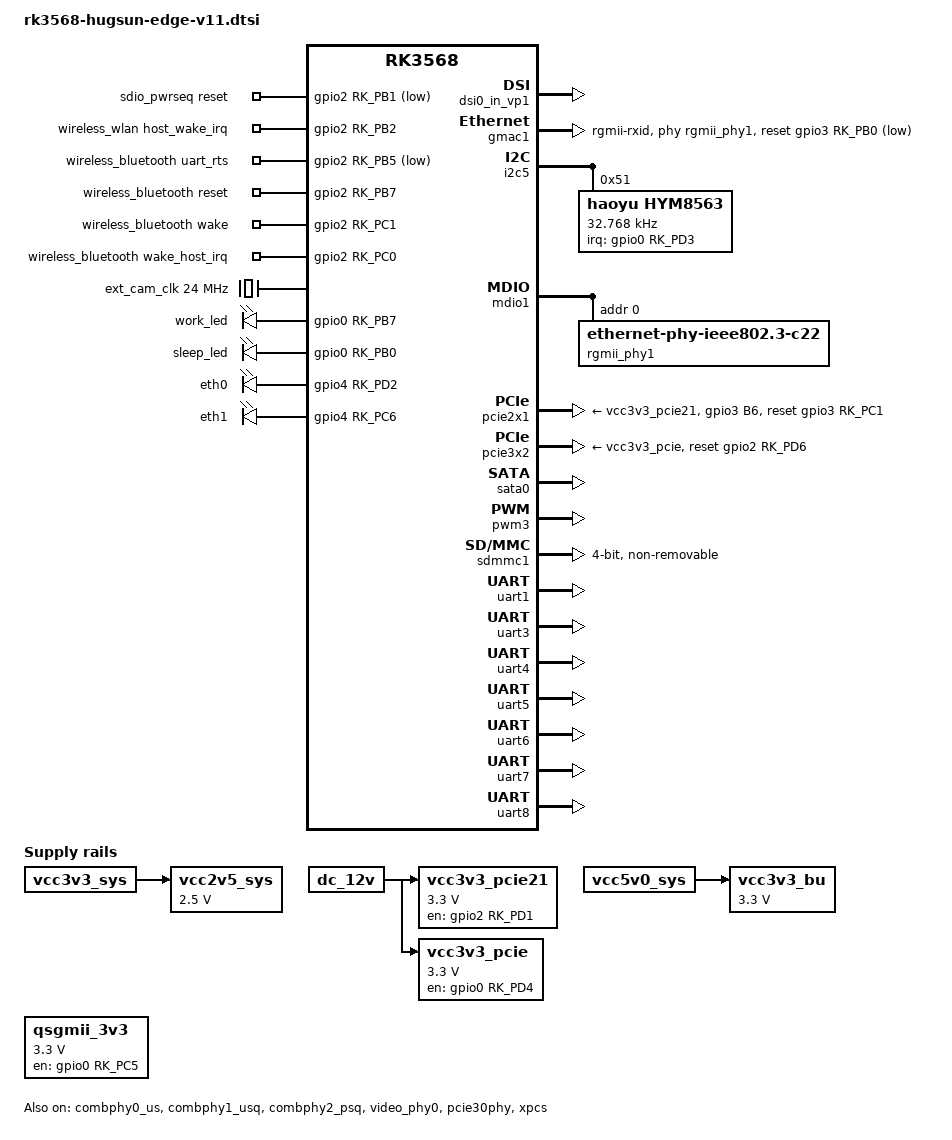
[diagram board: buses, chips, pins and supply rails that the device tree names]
// SPDX-License-Identifier: (GPL-2.0+ OR MIT)
/*
 * Copyright (c) 2020 Rockchip Electronics Co., Ltd.
 *
 */

/dts-v1/;

#include <dt-bindings/gpio/gpio.h>
#include <dt-bindings/pinctrl/rockchip.h>
#include "rk3568.dtsi"
#include "rk3568-hugsun.dtsi"

/ {
	rk_headset: rk-headset {
		status = "disabled";
		compatible = "rockchip_headset";
		headset_gpio = <&gpio4 RK_PC1 GPIO_ACTIVE_LOW>;
		pinctrl-names = "default";
		pinctrl-0 = <&hp_det>;	
	};

	vcc2v5_sys: vcc2v5-ddr {
		compatible = "regulator-fixed";
		regulator-name = "vcc2v5-sys";
		regulator-always-on;
		regulator-boot-on;
		regulator-min-microvolt = <2500000>;
		regulator-max-microvolt = <2500000>;
		vin-supply = <&vcc3v3_sys>;
	};

	vcc3v3_pcie21:vcc3v3-pcie21 {
		compatible = "regulator-fixed";
		regulator-name = "vcc3v3_pcie21";
		regulator-min-microvolt = <3300000>;
		regulator-max-microvolt = <3300000>;
		enable-active-high;
		regulator-always-on;
		regulator-boot-on;
		gpio = <&gpio2 RK_PD1 GPIO_ACTIVE_HIGH>;
		startup-delay-us = <5000>;
		vin-supply = <&dc_12v>;
	};
    
	vcc3v3_pcie: vcc3v3-pcie {
		compatible = "regulator-fixed";
		regulator-name = "vcc3v3_pcie";
		regulator-boot-on;
		enable-active-high;
		regulator-min-microvolt = <3300000>;
		regulator-max-microvolt = <3300000>;
		gpio = <&gpio0 RK_PD4 GPIO_ACTIVE_HIGH>;
		startup-delay-us = <5000>;
		vin-supply = <&dc_12v>;
    	};

	qsgmii_3v3: gpio-regulator {
		compatible = "regulator-fixed";
		regulator-name = "qsgmii_3v3";
		regulator-boot-on;
		enable-active-high;
		regulator-min-microvolt = <3300000>;
		regulator-max-microvolt = <3300000>;
		gpio = <&gpio0 RK_PC5 GPIO_ACTIVE_HIGH>;
		pinctrl-names = "default";
		pinctrl-0 = <&qsgmii_en>;
	};	

	vcc3v3_bu: vcc3v3-bu {
		compatible = "regulator-fixed";
		regulator-name = "vcc3v3_bu";
		regulator-always-on;
		regulator-boot-on;
		regulator-min-microvolt = <3300000>;
		regulator-max-microvolt = <3300000>;
		vin-supply = <&vcc5v0_sys>;
	};

	sdio_pwrseq: sdio-pwrseq {
		compatible = "mmc-pwrseq-simple";
		pinctrl-names = "default";
		pinctrl-0 = <&wifi_enable_h>;
		reset-gpios = <&gpio2 RK_PB1 GPIO_ACTIVE_LOW>;
	};

	wireless_wlan: wireless-wlan {
		compatible = "wlan-platdata";
		rockchip,grf = <&grf>;
		wifi_chip_type = "ap6256";
		clocks = <&hym8563>;
		clock-names = "clk_wifi";
		pinctrl-0 = <&wifi_host_wake_irq>;
		pinctrl-names = "default";
		WIFI,host_wake_irq = <&gpio2 RK_PB2 GPIO_ACTIVE_HIGH>;
		status = "okay";
	};

	wireless_bluetooth: wireless-bluetooth {
		compatible = "bluetooth-platdata";
		//wifi-bt-power-toggle;
		uart_rts_gpios = <&gpio2 RK_PB5 GPIO_ACTIVE_LOW>;
		pinctrl-names = "default", "rts_gpio";
		pinctrl-0 = <&uart1m0_rtsn>;
		pinctrl-1 = <&uart1_gpios>;
		BT,reset_gpio    = <&gpio2 RK_PB7 GPIO_ACTIVE_HIGH>;
		BT,wake_gpio     = <&gpio2 RK_PC1 GPIO_ACTIVE_HIGH>;
		BT,wake_host_irq = <&gpio2 RK_PC0 GPIO_ACTIVE_HIGH>;
		status = "okay";
	};

	ext_cam_clk: external-camera-clock {
		compatible = "fixed-clock";
		clock-frequency = <24000000>;
		clock-output-names = "CLK_CAMERA_24MHZ";
		#clock-cells = <0>;
	};
};

&leds {
	compatible = "gpio-leds";
        status = "okay";
	work_led: work {
		gpios = <&gpio0 RK_PB7 GPIO_ACTIVE_HIGH>;
		linux,default-trigger = "heartbeat";
		default-state = "on";
	};

        sleep_led: sleep{
			gpios = <&gpio0 RK_PB0 GPIO_ACTIVE_HIGH>;
			linux,default-trigger = "none";
			default-state = "on";
		};

        eth0: eth0{
			gpios = <&gpio4 RK_PD2 GPIO_ACTIVE_HIGH>;
			linux,default-trigger = "none";
			default-state = "on";
		};

        eth1: eth1{
			gpios = <&gpio4 RK_PC6 GPIO_ACTIVE_HIGH>;
			linux,default-trigger = "none";
			default-state = "on";
		};
};

&combphy0_us {
	status = "okay";
};

&combphy1_usq {
	status = "okay";
};

&combphy2_psq {
	status = "okay";
};

/*
 * video_phy0 needs to be enabled
 * when dsi0 is enabled
 */
&dsi0 {
	status = "disabled";
};

&dsi0_in_vp0 {
	status = "disabled";
};

&dsi0_in_vp1 {
	status = "okay";
};

&dsi0_panel {
	power-supply = <&vcc3v3_lcd0_n>;
};

/*
 * video_phy1 needs to be enabled
 * when dsi1 is enabled
 */
&dsi1 {
	status = "disabled";
};

&dsi1_in_vp0 {
	status = "disabled";
};

&dsi1_in_vp1 {
	status = "disabled";
};

//&dsi1_panel {
//	power-supply = <&vcc3v3_lcd1_n>;
//};

&gmac1 {
	phy-mode = "rgmii-rxid";
	clock_in_out = "output";
	
	snps,reset-gpio =<&gpio3 RK_PB0 GPIO_ACTIVE_LOW>;
	snps,reset-active-low;
	/* Reset time is 20ms, 100ms for rtl8211f */
	snps,reset-delays-us = <0 20000 100000>;

	assigned-clocks = <&cru SCLK_GMAC1_RX_TX>, <&cru SCLK_GMAC1>;
	assigned-clock-parents = <&cru SCLK_GMAC1_RGMII_SPEED>, <&cru CLK_MAC1_2TOP>;
	assigned-clock-rates = <0>, <125000000>;

	pinctrl-names = "default";
	pinctrl-0 = <&gmac1m1_miim
		     &gmac1m1_tx_bus2
		     &gmac1m1_rx_bus2
		     &gmac1m1_rgmii_clk
		     &gmac1m1_rgmii_bus  
			 &gmac1m1_clkinout>;

	tx_delay = <0x4f>;
	rx_delay = <0x2d>;

	power-domains = <&power RK3568_PD_PIPE>;
	phys ;
	phy-handle = <&rgmii_phy1>;
	status = "okay";
};

&i2c5 {
	status = "okay";
	pinctrl-names = "default";	
	pinctrl-0 = <&i2c5m0_xfer>;
	
	hym8563: hym8563@51 {
		compatible = "haoyu,hym8563";
		reg = <0x51>;
		#clock-cells = <0>;
		clock-frequency = <32768>;
		clock-output-names = "hym8563";
		pinctrl-names = "default";
		pinctrl-0 = <&hym8563_int>;
		interrupt-parent = <&gpio0>;
		interrupts = <RK_PD3 IRQ_TYPE_LEVEL_LOW>;
		wakeup-source;
		status = "okay";
	};	
};

&mdio1 {
	rgmii_phy1: phy@0 {
		compatible = "ethernet-phy-ieee802.3-c22";
		reg = <0x0>;
	};
};

&video_phy0 {
	status = "okay";
};

&video_phy1 {
	status = "disabled";
};

&pcie2x1 {
	reset-gpios = <&gpio3 RK_PC1 GPIO_ACTIVE_HIGH>;
	vpcie3v3-supply = <&vcc3v3_pcie21>;
	status = "okay";
	pinctrl-names = "default";
	pinctrl-0 = <&rtl8111_isolate>;
};

&pcie30phy {
	status = "okay";
};

&pcie3x2 {
	reset-gpios = <&gpio2 RK_PD6 GPIO_ACTIVE_HIGH>;
	vpcie3v3-supply = <&vcc3v3_pcie>;
	status = "okay";
};

&sata0 {
    status = "okay";
};


&pinctrl {
	headphone {
		hp_det: hp-det {
			rockchip,pins = <4 RK_PC1 RK_FUNC_GPIO &pcfg_pull_down>;
		};
	};
	
	rtl8111 {
		rtl8111_isolate: rtl8111-isolate {
			rockchip,pins = <3 RK_PB6 RK_FUNC_GPIO &pcfg_pull_up>;
		};
	};

	led {
		work_led_gpio: work-led-gpio {
			rockchip,pins = <0 RK_PB7 RK_FUNC_GPIO &pcfg_pull_down>;
		};
		
		sleep_led_gpio: sleep-led-gpio {
			rockchip,pins = <0 RK_PB0 RK_FUNC_GPIO &pcfg_pull_down>;
		};		

        eth0_led: eth0-led-gpio {
		rockchip,pins = <4 RK_PD2 RK_FUNC_GPIO &pcfg_pull_up>;
		};	

        eth1_led: eth1-led-gpio {
		rockchip,pins = <4 RK_PC6 RK_FUNC_GPIO &pcfg_pull_up>;
		};	

        gpio_group: gpio-group {
		rockchip,pins = 
		            <4 RK_PC2 RK_FUNC_GPIO &pcfg_pull_none>,
		            <4 RK_PC3 RK_FUNC_GPIO &pcfg_pull_none>,
		            <4 RK_PC4 RK_FUNC_GPIO &pcfg_pull_none>,
		            <4 RK_PC5 RK_FUNC_GPIO &pcfg_pull_none>;
		};

		gmac1_rst: gmac1-rst-gpio {
			rockchip,pins = <3 RK_PB0 RK_FUNC_GPIO &pcfg_pull_up>;
		};	

		gmac0_rst: gmac0-rst-gpio {
			rockchip,pins = <3 RK_PC1 RK_FUNC_GPIO &pcfg_pull_up>;
		};	

	};	

	hym8563 {
		hym8563_int: hym8563-int {
			rockchip,pins = <0 RK_PD3 RK_FUNC_GPIO &pcfg_pull_up>;
		};
	};
	qsgmii_ctl {
		qsgmii_en: qsgmii-en {
			rockchip,pins = <0 RK_PC5 RK_FUNC_GPIO &pcfg_pull_up>;
		};	
	};		

	sdio-pwrseq {
		wifi_enable_h: wifi-enable-h {
			rockchip,pins = <2 RK_PB1 RK_FUNC_GPIO &pcfg_pull_none>;
		};
	};

	wireless-wlan {
		wifi_host_wake_irq: wifi-host-wake-irq {
			rockchip,pins = <2 RK_PB2 RK_FUNC_GPIO &pcfg_pull_down>;
		};
	};

	wireless-bluetooth {
		uart1_gpios: uart1-gpios {
			rockchip,pins = <2 RK_PB5 RK_FUNC_GPIO &pcfg_pull_none>;
		};
	};
};

//&pmu_io_domains {
//	vccio6-supply = <&vcc_3v3>;
//};

&pwm3 {
	status = "okay";

	compatible = "rockchip,remotectl-pwm";
	remote_pwm_id = <3>;
	handle_cpu_id = <1>;
	remote_support_psci = <0>;
	pinctrl-names = "default";
	pinctrl-0 = <&pwm3_pins>;

	ir_key1 {
		rockchip,usercode = <0x4040>;
		rockchip,key_table =
			<0xf2	KEY_REPLY>,
			<0xba	KEY_BACK>,
			<0xf4	KEY_UP>,
			<0xf1	KEY_DOWN>,
			<0xef	KEY_LEFT>,
			<0xee	KEY_RIGHT>,
			<0xbd	KEY_HOME>,
			<0xea	KEY_VOLUMEUP>,
			<0xe3	KEY_VOLUMEDOWN>,
			<0xe2	KEY_SEARCH>,
			<0xb2	KEY_POWER>,
			<0xbc	KEY_MUTE>,
			<0xec	KEY_MENU>,
			<0xbf	0x190>,
			<0xe0	0x191>,
			<0xe1	0x192>,
			<0xe9	183>,
			<0xe6	248>,
			<0xe8	185>,
			<0xe7	186>,
			<0xf0	388>,
			<0xbe	0x175>;
	};

	ir_key2 {
		rockchip,usercode = <0xff00>;
		rockchip,key_table =
			<0xf9	KEY_HOME>,
			<0xbf	KEY_BACK>,
			<0xfb	KEY_MENU>,
			<0xaa	KEY_REPLY>,
			<0xb9	KEY_UP>,
			<0xe9	KEY_DOWN>,
			<0xb8	KEY_LEFT>,
			<0xea	KEY_RIGHT>,
			<0xeb	KEY_VOLUMEDOWN>,
			<0xef	KEY_VOLUMEUP>,
			<0xf7	KEY_MUTE>,
			<0xe7	KEY_POWER>,
			<0xfc	KEY_POWER>,
			<0xa9	KEY_VOLUMEDOWN>,
			<0xa8	KEY_VOLUMEDOWN>,
			<0xe0	KEY_VOLUMEDOWN>,
			<0xa5	KEY_VOLUMEDOWN>,
			<0xab	183>,
			<0xb7	388>,
			<0xe8	388>,
			<0xf8	184>,
			<0xaf	185>,
			<0xed	KEY_VOLUMEDOWN>,
			<0xee	186>,
			<0xb3	KEY_VOLUMEDOWN>,
			<0xf1	KEY_VOLUMEDOWN>,
			<0xf2	KEY_VOLUMEDOWN>,
			<0xf3	KEY_SEARCH>,
			<0xb4	KEY_VOLUMEDOWN>,
			<0xbe	KEY_SEARCH>;
	};

	ir_key3 {
		rockchip,usercode = <0x1dcc>;
		rockchip,key_table =
			<0xee	KEY_REPLY>,
			<0xf0	KEY_BACK>,
			<0xf8	KEY_UP>,
			<0xbb	KEY_DOWN>,
			<0xef	KEY_LEFT>,
			<0xed	KEY_RIGHT>,
			<0xfc	KEY_HOME>,
			<0xf1	KEY_VOLUMEUP>,
			<0xfd	KEY_VOLUMEDOWN>,
			<0xb7	KEY_SEARCH>,
			<0xff	KEY_POWER>,
			<0xf3	KEY_MUTE>,
			<0xbf	KEY_MENU>,
			<0xf9	0x191>,
			<0xf5	0x192>,
			<0xb3	388>,
			<0xbe	KEY_1>,
			<0xba	KEY_2>,
			<0xb2	KEY_3>,
			<0xbd	KEY_4>,
			<0xf9	KEY_5>,
			<0xb1	KEY_6>,
			<0xfc	KEY_7>,
			<0xf8	KEY_8>,
			<0xb0	KEY_9>,
			<0xb6	KEY_0>,
			<0xb5	KEY_BACKSPACE>;
	};
};

&pwm7 {
	status = "disabled";
};

&route_dsi0 {
	status = "disabled";
	connect = <&vp1_out_dsi0>;
};

&sdmmc1 {
	max-frequency = <150000000>;
	no-sd;
	no-mmc;
	bus-width = <4>;
	disable-wp;
	cap-sd-highspeed;
	cap-sdio-irq;
	keep-power-in-suspend;
	mmc-pwrseq = <&sdio_pwrseq>;
	non-removable;
	pinctrl-names = "default";
	pinctrl-0 = <&sdmmc1_bus4 &sdmmc1_cmd &sdmmc1_clk>;
	sd-uhs-sdr104;
	status = "okay";
};

&sdmmc2 {
	status = "disabled";
};

&uart1 {
	status = "okay";
	pinctrl-names = "default";
	pinctrl-0 = <&uart1m0_xfer &uart1m0_ctsn>;
};

&uart3 {
	status = "okay";
	pinctrl-names = "default";
	pinctrl-0 = <&uart3m1_xfer>;
};

&uart4 {
	status = "okay";
	pinctrl-names = "default";
	pinctrl-0 = <&uart4m1_xfer>;
};

&uart5 {
	status = "okay";
	pinctrl-names = "default";
	pinctrl-0 = <&uart5m0_xfer>;
};

&uart6 {
	status = "okay";
	pinctrl-names = "default";
	pinctrl-0 = <&uart6m1_xfer>;
};

&uart7 {
	status = "okay";
	pinctrl-names = "default";
	pinctrl-0 = <&uart7m1_xfer>;
};

&uart8 {
	status = "okay";
	pinctrl-names = "default";
	pinctrl-0 = <&uart8m1_xfer>;
};

&vcc3v3_lcd0_n {
	gpio = <&gpio0 RK_PC7 GPIO_ACTIVE_HIGH>;
	enable-active-high;
};

&xpcs {
	status = "okay";
};

